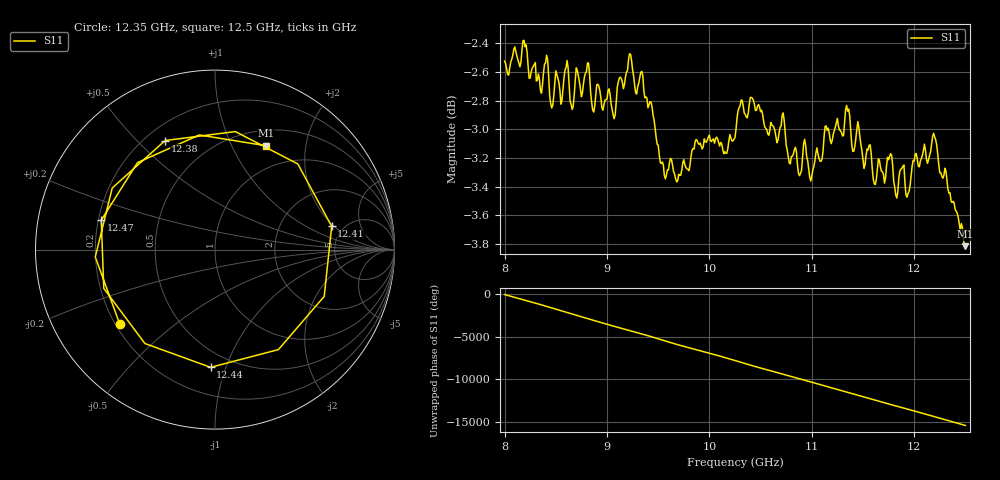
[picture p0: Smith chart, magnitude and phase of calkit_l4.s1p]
#  HZ  S  RI  R  50.00
! Rohde & Schwarz Vector Network Analyzer
! Rohde-Schwarz,ZNA43-4Port,1332450044101932,2.92
! Created: UTC 6/9/2026, 6:26:13 AM
! freq[Hz]  re:S11  im:S11
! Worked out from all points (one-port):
!   451 points, 8 GHz to 12.5 GHz, reference 50 ohm
!   lowest |S11| = -3.8 dB at 12.5 GHz (marker M1), VSWR 4.63, Z = 34.5 + j68.3 ohm
!   |S11| at or under -10 dB: nowhere
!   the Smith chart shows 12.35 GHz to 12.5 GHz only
!   S11 on the Smith chart (normalised r, x): 12.35 GHz: 0.22, -0.33; 12.38 GHz: 0.28, +0.61; 12.41 GHz: 4.02, +1.86; 12.44 GHz: 0.38, -0.89; 12.47 GHz: 0.21, +0.12; 12.5 GHz: 0.69, +1.37
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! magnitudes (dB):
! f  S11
! 8 GHz  -2.5
! 8.19 GHz  -2.4
! 8.35 GHz  -2.7
! 8.41 GHz  -2.5
! 8.46 GHz  -2.9
! 8.57 GHz  -2.7
! 8.81 GHz  -2.5
! 8.86 GHz  -2.9
! 9.06 GHz  -2.9
! 9.13 GHz  -2.6
! 9.34 GHz  -2.6
! 9.55 GHz  -3.2
! 9.69 GHz  -3.4
! 10.25 GHz  -3.1
! 10.42 GHz  -2.8
! 10.82 GHz  -3.2
! 10.99 GHz  -3.4
! 11.14 GHz  -3.0
! 11.38 GHz  -3.0
! 11.61 GHz  -3.4
! 11.94 GHz  -3.4
! 12.19 GHz  -3.0
! 12.35 GHz  -3.4
! 12.38 GHz  -3.5
! 12.41 GHz  -3.6
! 12.44 GHz  -3.7
! 12.47 GHz  -3.7
! 12.5 GHz  -3.8
